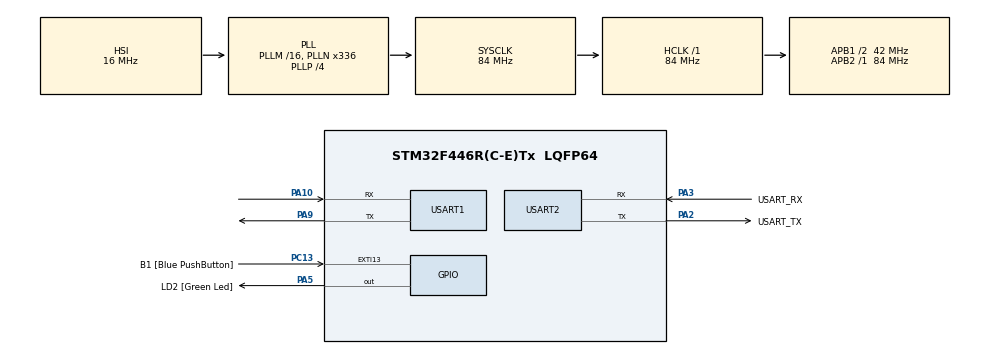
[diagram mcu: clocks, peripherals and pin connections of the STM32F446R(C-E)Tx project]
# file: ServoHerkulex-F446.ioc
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Mcu.Family=STM32F4
Mcu.Name=STM32F446R(C-E)Tx
Mcu.Package=LQFP64
NVIC.PriorityGroup=NVIC_PRIORITYGROUP_0
NVIC.USART2_IRQn=true\:0\:0\:false\:false\:true\:true\:true\:true
PA10.Mode=Asynchronous
PA10.Signal=USART1_RX
PA13.GPIO_Label=TMS
PA13.Mode=Serial_Wire
PA13.Signal=SYS_JTMS-SWDIO
PA14.GPIO_Label=TCK
PA14.Mode=Serial_Wire
PA14.Signal=SYS_JTCK-SWCLK
PA2.GPIO_Label=USART_TX
PA2.Mode=Asynchronous
PA2.Signal=USART2_TX
PA3.GPIO_Label=USART_RX
PA3.Mode=Asynchronous
PA3.Signal=USART2_RX
PA5.GPIO_Label=LD2 [Green Led]
PA5.Signal=GPIO_Output
PA9.Mode=Asynchronous
PA9.Signal=USART1_TX
PB3.GPIO_Label=SWO
PB3.Signal=SYS_JTDO-SWO
PC13.GPIO_Label=B1 [Blue PushButton]
PC13.GPIO_ModeDefaultEXTI=GPIO_MODE_IT_FALLING
PC13.Signal=GPXTI13
PC14-OSC32_IN.Mode=LSE-External-Oscillator
PC14-OSC32_IN.Signal=RCC_OSC32_IN
PC15-OSC32_OUT.Mode=LSE-External-Oscillator
PC15-OSC32_OUT.Signal=RCC_OSC32_OUT
PH0-OSC_IN.Mode=HSE-External-Oscillator
PH0-OSC_IN.Signal=RCC_OSC_IN
PH1-OSC_OUT.Mode=HSE-External-Oscillator
PH1-OSC_OUT.Signal=RCC_OSC_OUT
ProjectManager.HeapSize=0x200
ProjectManager.StackSize=0x400
ProjectManager.TargetToolchain=STM32CubeIDE
RCC.48MHZClocksFreq_Value=84000000
RCC.AHBFreq_Value=84000000
RCC.APB1CLKDivider=RCC_HCLK_DIV2
RCC.APB1Freq_Value=42000000
RCC.APB1TimFreq_Value=84000000
RCC.APB2Freq_Value=84000000
RCC.APB2TimFreq_Value=84000000
RCC.CortexFreq_Value=84000000
RCC.FLatency-AdvancedSettings=FLASH_LATENCY_2
RCC.HCLKFreq_Value=84000000
RCC.HSE_VALUE=8000000
RCC.HSI_VALUE=16000000
RCC.PLLN=336
RCC.PLLP=RCC_PLLP_DIV4
RCC.SYSCLKFreq_VALUE=84000000
RCC.SYSCLKSource=RCC_SYSCLKSOURCE_PLLCLK
RCC.USBFreq_Value=168000000
RCC.VCOOutputFreq_Value=336000000
USART1.VirtualMode=VM_ASYNC
USART2.VirtualMode=VM_ASYNC
board=NUCLEO-F446RE

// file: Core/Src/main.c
 /* USER CODE BEGIN Header */
/**
  ******************************************************************************
  * @file           : main.c
  * @brief          : Main program body
  ******************************************************************************
  * @attention
  *
  * Copyright (c) 2024 STMicroelectronics.
  * All rights reserved.
  *
  * This software is licensed under terms that can be found in the LICENSE file
  * in the root directory of this software component.
  * If no LICENSE file comes with this software, it is provided AS-IS.
  *
  ******************************************************************************
  */
/* USER CODE END Header */
#include "main.h"

/* USER CODE BEGIN Includes */
#include "Herkulex.h"
#include <stdio.h>
#include <stdlib.h>

/* USER CODE END Includes */

UART_HandleTypeDef huart1;
UART_HandleTypeDef huart2;

void SystemClock_Config(void);
static void MX_GPIO_Init(void);
static void MX_USART2_UART_Init(void);
static void MX_USART1_UART_Init(void);

/* USER CODE BEGIN 0 */
	int zero_x =788;
	int zero_y = 788;
	int pos_x;
	int pos_y;

	uint8_t x_donnees_recues[3];
	uint8_t y_donnees_recues[3];
	uint8_t nb_de_caract_recus = 0;

/* USER CODE END 0 */

int main(void)
{
  /* USER CODE BEGIN 1 */
  uint16_t x_valeur_brute = 0;
  uint16_t y_valeur_brute = 0;
  /* USER CODE END 1 */

  /* MCU Configuration--------------------------------------------------------*/

  /* Reset of all peripherals, Initializes the Flash interface and the Systick. */
  HAL_Init();

  /* Configure the system clock */
  SystemClock_Config();

  /* Initialize all configured peripherals */
  MX_GPIO_Init();
  MX_USART2_UART_Init();
  MX_USART1_UART_Init();
  /* USER CODE BEGIN 2 */
  HAL_Init();
  herkulex_init();
// ID deja set

  /* USER CODE END 2 */

  /* Infinite loop */
  /* USER CODE BEGIN WHILE */

  //set_LED(0x12,  H_LED_CYAN);
  //move_angle(0x12,159.8, 10, H_LED_GREEN);
 // move_continuous(0x12, 100, H_LED_RED);

  move_positional(0x11 , 510, 50, H_LED_RED);//gauche 595 droite 428
  move_positional(0x12 ,510 , 50, H_LED_RED); // bas 435, haut 580, milieu de la planche 510
  while (1)
  {
	  //fonction bloquante
	  HAL_UARTEx_ReceiveToIdle(&huart2, x_donnees_recues, 10, &nb_de_caract_recus,
		  	    			HAL_MAX_DELAY);
	  x_valeur_brute = atoi(x_donnees_recues); // transforme en entier
	  	  if (x_valeur_brute > 364)
	  	  	  	  {
	  	  		  x_valeur_brute = 360;
	  	  	  	  }
	  	  if (x_valeur_brute < 200)
	  			  {
	  				x_valeur_brute = 195;
	  			  }
	  HAL_UART_Transmit(&huart1, x_donnees_recues, nb_de_caract_recus, HAL_MAX_DELAY);

	  HAL_UARTEx_ReceiveToIdle(&huart2, y_donnees_recues, 10, &nb_de_caract_recus,HAL_MAX_DELAY);
	  y_valeur_brute = atoi(y_donnees_recues);

	  if (y_valeur_brute > 354)
	  	  	  	  	  {
	  	  	  	  		y_valeur_brute = 350;
	  	  	  	  	  }
	  if (y_valeur_brute < 215)
	  	  	  	  	  {
	  	  	  	  		y_valeur_brute = 215;
	  	  	  	  	  }
	  HAL_UART_Transmit(&huart1, y_donnees_recues, nb_de_caract_recus, HAL_MAX_DELAY);

	  pos_x = zero_x - x_valeur_brute; // valeur brute : envoyée par termite
	  pos_y = zero_y - y_valeur_brute; // valeur brute : envoyée par termite

	  move_positional(0x11, pos_x, 25, H_LED_BLUE);
	  HAL_Delay(200);
	  move_positional(0x12, pos_y, 25, H_LED_GREEN);

	  /* USER CODE END WHILE */

  }
}

void SystemClock_Config(void)
{
  RCC_OscInitTypeDef RCC_OscInitStruct = {0};
  RCC_ClkInitTypeDef RCC_ClkInitStruct = {0};

  /** Configure the main internal regulator output voltage
  */
  __HAL_RCC_PWR_CLK_ENABLE();
  __HAL_PWR_VOLTAGESCALING_CONFIG(PWR_REGULATOR_VOLTAGE_SCALE3);

  /** Initializes the RCC Oscillators according to the specified parameters
  * in the RCC_OscInitTypeDef structure.
  */
  RCC_OscInitStruct.OscillatorType = RCC_OSCILLATORTYPE_HSI;
  RCC_OscInitStruct.HSIState = RCC_HSI_ON;
  RCC_OscInitStruct.HSICalibrationValue = RCC_HSICALIBRATION_DEFAULT;
  RCC_OscInitStruct.PLL.PLLState = RCC_PLL_ON;
  RCC_OscInitStruct.PLL.PLLSource = RCC_PLLSOURCE_HSI;
  RCC_OscInitStruct.PLL.PLLM = 16;
  RCC_OscInitStruct.PLL.PLLN = 336;
  RCC_OscInitStruct.PLL.PLLP = RCC_PLLP_DIV4;
  RCC_OscInitStruct.PLL.PLLQ = 2;
  RCC_OscInitStruct.PLL.PLLR = 2;
  if (HAL_RCC_OscConfig(&RCC_OscInitStruct) != HAL_OK)
  {
    Error_Handler();
  }

  /** Initializes the CPU, AHB and APB buses clocks
  */
  RCC_ClkInitStruct.ClockType = RCC_CLOCKTYPE_HCLK|RCC_CLOCKTYPE_SYSCLK
                              |RCC_CLOCKTYPE_PCLK1|RCC_CLOCKTYPE_PCLK2;
  RCC_ClkInitStruct.SYSCLKSource = RCC_SYSCLKSOURCE_PLLCLK;
  RCC_ClkInitStruct.AHBCLKDivider = RCC_SYSCLK_DIV1;
  RCC_ClkInitStruct.APB1CLKDivider = RCC_HCLK_DIV2;
  RCC_ClkInitStruct.APB2CLKDivider = RCC_HCLK_DIV1;

  if (HAL_RCC_ClockConfig(&RCC_ClkInitStruct, FLASH_LATENCY_2) != HAL_OK)
  {
    Error_Handler();
  }
}

static void MX_USART1_UART_Init(void)
{

  huart1.Instance = USART1;
  huart1.Init.BaudRate = 115200;
  huart1.Init.WordLength = UART_WORDLENGTH_8B;
  huart1.Init.StopBits = UART_STOPBITS_1;
  huart1.Init.Parity = UART_PARITY_NONE;
  huart1.Init.Mode = UART_MODE_TX_RX;
  huart1.Init.HwFlowCtl = UART_HWCONTROL_NONE;
  huart1.Init.OverSampling = UART_OVERSAMPLING_16;
  if (HAL_UART_Init(&huart1) != HAL_OK)
  {
    Error_Handler();
  }

}

static void MX_USART2_UART_Init(void)
{

  huart2.Instance = USART2;
  huart2.Init.BaudRate = 115200;
  huart2.Init.WordLength = UART_WORDLENGTH_8B;
  huart2.Init.StopBits = UART_STOPBITS_1;
  huart2.Init.Parity = UART_PARITY_NONE;
  huart2.Init.Mode = UART_MODE_TX_RX;
  huart2.Init.HwFlowCtl = UART_HWCONTROL_NONE;
  huart2.Init.OverSampling = UART_OVERSAMPLING_16;
  if (HAL_UART_Init(&huart2) != HAL_OK)
  {
    Error_Handler();
  }

}

static void MX_GPIO_Init(void)
{
  GPIO_InitTypeDef GPIO_InitStruct = {0};

  /* GPIO Ports Clock Enable */
  __HAL_RCC_GPIOC_CLK_ENABLE();
  __HAL_RCC_GPIOH_CLK_ENABLE();
  __HAL_RCC_GPIOA_CLK_ENABLE();
  __HAL_RCC_GPIOB_CLK_ENABLE();

  /*Configure GPIO pin Output Level */
  HAL_GPIO_WritePin(LD2_GPIO_Port, LD2_Pin, GPIO_PIN_RESET);

  /*Configure GPIO pin : B1_Pin */
  GPIO_InitStruct.Pin = B1_Pin;
  GPIO_InitStruct.Mode = GPIO_MODE_IT_FALLING;
  GPIO_InitStruct.Pull = GPIO_NOPULL;
  HAL_GPIO_Init(B1_GPIO_Port, &GPIO_InitStruct);

  /*Configure GPIO pin : LD2_Pin */
  GPIO_InitStruct.Pin = LD2_Pin;
  GPIO_InitStruct.Mode = GPIO_MODE_OUTPUT_PP;
  GPIO_InitStruct.Pull = GPIO_NOPULL;
  GPIO_InitStruct.Speed = GPIO_SPEED_FREQ_LOW;
  HAL_GPIO_Init(LD2_GPIO_Port, &GPIO_InitStruct);

}

/* USER CODE BEGIN 4 */
void HAL_UART_RxCpltCallback(UART_HandleTypeDef *huart)
{
	//on rentre dans cette fonction lorsqu'on a fini de taper des caractères
	//on lit ces caractères
	//on les transmets au herkulex sur l'usart 1 et voilà

}

/* USER CODE END 4 */

void Error_Handler(void)
{
  __disable_irq();
  while (1)
  {
  }
}
